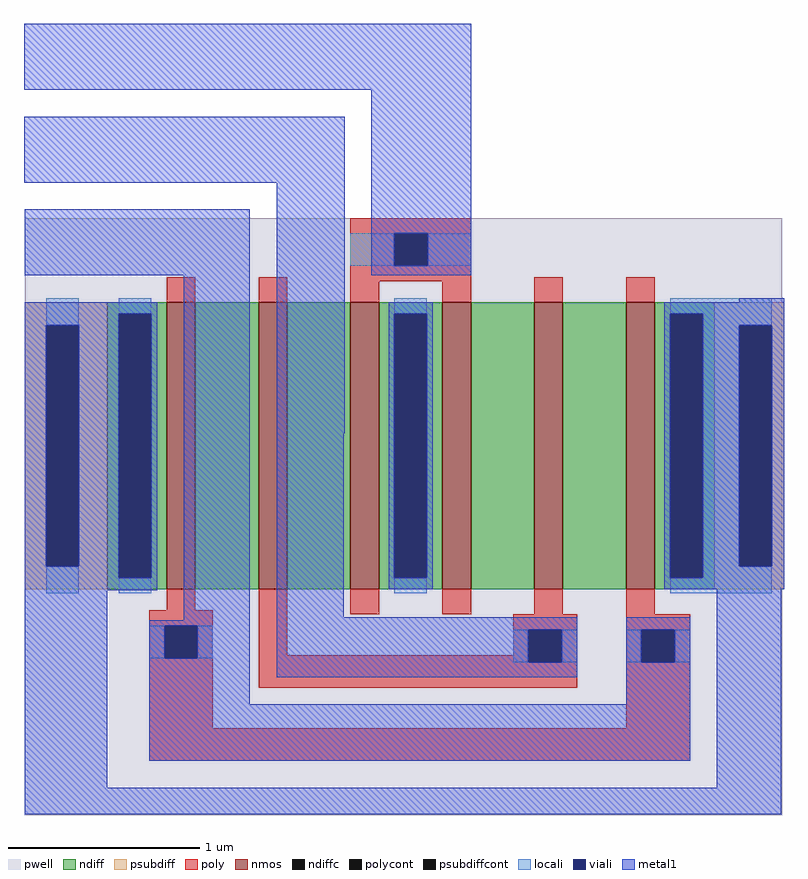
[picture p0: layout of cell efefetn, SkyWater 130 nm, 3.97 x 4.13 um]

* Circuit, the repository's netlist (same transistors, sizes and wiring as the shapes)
* NGSPICE file created from efefetn.ext - technology: sky130B

.subckt efefetn
X0 a_159_n150# a_n159_n253# a_63_n150# a_n403_n150# sky130_fd_pr__nfet_01v8 ad=0.2475 pd=1.83 as=0.2475 ps=1.83 w=1.5 l=0.15
X1 a_n225_n150# a_n273_n329# a_n403_n150# a_n403_n150# sky130_fd_pr__nfet_01v8 ad=0.2475 pd=1.83 as=0.465 ps=3.62 w=1.5 l=0.15
X2 a_63_n150# a_n63_n176# a_n33_n150# a_n403_n150# sky130_fd_pr__nfet_01v8 ad=0.2475 pd=1.83 as=0.2475 ps=1.83 w=1.5 l=0.15
X3 a_n129_n150# a_n159_n253# a_n225_n150# a_n403_n150# sky130_fd_pr__nfet_01v8 ad=0.2475 pd=1.83 as=0.2475 ps=1.83 w=1.5 l=0.15
X4 a_n33_n150# a_n63_n176# a_n129_n150# a_n403_n150# sky130_fd_pr__nfet_01v8 ad=0.2475 pd=1.83 as=0.2475 ps=1.83 w=1.5 l=0.15
X5 a_n403_n150# a_n273_n329# a_159_n150# a_n403_n150# sky130_fd_pr__nfet_01v8 ad=0.465 pd=3.62 as=0.2475 ps=1.83 w=1.5 l=0.15
.ends

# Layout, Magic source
magic
tech sky130B
magscale 1 2
<< pwell >>
rect -403 -386 388 238
<< nmos >>
rect -255 -150 -225 150
rect -159 -150 -129 150
rect -63 -150 -33 150
rect 33 -150 63 150
rect 129 -150 159 150
rect 225 -150 255 150
<< ndiff >>
rect -317 138 -255 150
rect -317 -138 -305 138
rect -271 -138 -255 138
rect -317 -150 -255 -138
rect -225 -150 -159 150
rect -129 -150 -63 150
rect -33 138 33 150
rect -33 -138 -17 138
rect 17 -138 33 138
rect -33 -150 33 -138
rect 63 -150 129 150
rect 159 -150 225 150
rect 255 138 317 150
rect 255 -138 271 138
rect 305 -138 317 138
rect 255 -150 317 -138
<< ndiffc >>
rect -305 -138 -271 138
rect -17 -138 17 138
rect 271 -138 305 138
<< psubdiff >>
rect -403 126 -317 150
rect -403 -126 -381 126
rect -347 -126 -317 126
rect -403 -150 -317 -126
rect 317 126 390 150
rect 317 -126 343 126
rect 377 -126 390 126
rect 317 -150 390 -126
<< psubdiffcont >>
rect -381 -126 -347 126
rect 343 -126 377 126
<< poly >>
rect -63 222 63 238
rect -63 188 -17 222
rect 18 188 63 222
rect -255 150 -225 176
rect -159 150 -129 176
rect -63 172 63 188
rect -63 150 -33 172
rect 33 150 63 172
rect 129 150 159 176
rect 225 150 255 176
rect -255 -172 -225 -150
rect -273 -188 -207 -172
rect -273 -222 -257 -188
rect -223 -222 -207 -188
rect -273 -295 -207 -222
rect -159 -219 -129 -150
rect -63 -176 -33 -150
rect 33 -176 63 -150
rect 129 -176 159 -150
rect 225 -176 255 -150
rect 107 -192 174 -176
rect 107 -219 123 -192
rect -159 -226 123 -219
rect 158 -226 174 -192
rect -159 -253 174 -226
rect 225 -192 292 -176
rect 225 -226 241 -192
rect 276 -226 292 -192
rect 225 -295 292 -226
rect -273 -329 292 -295
<< polycont >>
rect -17 188 18 222
rect -257 -222 -223 -188
rect 123 -226 158 -192
rect 241 -226 276 -192
<< locali >>
rect -63 188 -17 222
rect 18 188 63 222
rect -381 126 -347 154
rect -381 -154 -347 -126
rect -305 138 -271 154
rect -305 -154 -271 -138
rect -17 138 17 154
rect -17 -154 17 -138
rect 271 138 377 154
rect 305 126 377 138
rect 305 -126 343 126
rect 305 -138 377 -126
rect 271 -154 377 -138
rect -273 -222 -257 -188
rect -223 -222 -207 -188
rect 107 -226 123 -192
rect 158 -226 174 -192
rect 225 -226 241 -192
rect 276 -226 292 -192
<< viali >>
rect -17 188 18 222
rect -381 -126 -347 126
rect -305 -138 -271 138
rect -17 -138 17 138
rect 271 -138 305 138
rect 343 -126 377 126
rect -257 -222 -223 -188
rect 123 -226 158 -192
rect 241 -226 276 -192
<< metal1 >>
rect -404 372 63 441
rect -404 275 -69 344
rect -403 178 -168 247
rect -403 138 -265 150
rect -403 126 -305 138
rect -403 -126 -381 126
rect -347 -126 -305 126
rect -403 -138 -305 -126
rect -271 -138 -265 138
rect -403 -151 -265 -138
rect -403 -357 -317 -151
rect -237 -182 -168 178
rect -273 -188 -168 -182
rect -273 -222 -257 -188
rect -223 -222 -168 -188
rect -273 -270 -168 -222
rect -140 13 -69 275
rect -41 222 63 372
rect -41 188 -17 222
rect 18 188 63 222
rect -41 178 63 188
rect 343 150 390 154
rect -23 138 23 150
rect -140 -179 -70 13
rect -23 -138 -17 138
rect 17 -138 23 138
rect -23 -150 23 -138
rect 265 138 390 150
rect 265 -138 271 138
rect 305 126 390 138
rect 305 -126 343 126
rect 377 -126 390 126
rect 305 -138 390 -126
rect 265 -150 390 -138
rect -140 -192 174 -179
rect -140 -226 123 -192
rect 158 -226 174 -192
rect -140 -242 174 -226
rect 225 -192 292 -179
rect 225 -226 241 -192
rect 276 -226 292 -192
rect 225 -270 292 -226
rect -273 -329 292 -270
rect 320 -357 387 -150
rect -403 -385 387 -357
<< properties >>
string gencell sky130_fd_pr__nfet_01v8
string library sky130
string parameters w 3 l 0.150 m 1 nf 3 diffcov 100 polycov 100 guard 0 glc 1 grc 1 gtc 1 gbc 1 tbcov 100 rlcov 100 topc 1 botc 1 poverlap 0 doverlap 1 lmin 0.15 wmin 0.42 compatible {sky130_fd_pr__nfet_01v8 sky130_fd_pr__nfet_01v8_lvt  sky130_fd_bs_flash__special_sonosfet_star  sky130_fd_pr__nfet_g5v0d10v5 sky130_fd_pr__nfet_05v0_nvt  sky130_fd_pr__nfet_03v3_nvt} full_metal 1 viasrc 100 viadrn 100 viagate 100 viagb 0 viagr 0 viagl 0 viagt 0
<< end >>
